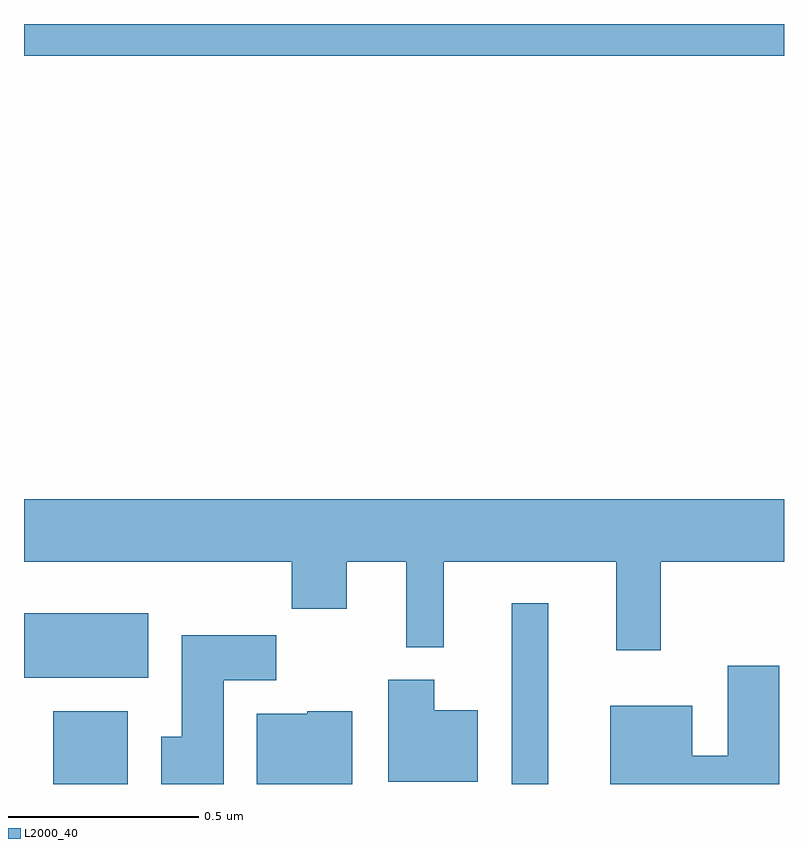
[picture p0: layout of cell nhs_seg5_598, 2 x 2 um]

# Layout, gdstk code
import gdstk
lib = gdstk.Library(unit=1e-6, precision=1e-09)
def R(c, l, rs):  # rectangles x0, y0, x1, y1
    for r in rs: c.add(gdstk.rectangle(r[:2], r[2:], *l))
def P(c, l, *ps):  # polygons
    for p in ps: c.add(gdstk.Polygon(p, *l))
L2000_40 = (2000, 40)

nhs_seg5_598 = lib.new_cell('nhs_seg5_598')
R(nhs_seg5_598, L2000_40, [(118.077,898.799,118.273,898.99), (119.283,898.799,119.38,899.275), (118,899.078,118.327,899.248), (118,900.716,120,900.799)])
P(nhs_seg5_598, L2000_40, [(119.675,899.384),(120,899.384),(120,899.548),(118,899.548),(118,899.384),(118.705,899.384),(118.705,899.26),(118.849,899.26),(118.849,899.384),(119.006,899.384),(119.006,899.159),(119.105,899.159),(119.105,899.384),(119.558,899.384),(119.558,899.151),(119.675,899.151)],
  [(118.525,899.072),(118.664,899.072),(118.664,899.19),(118.415,899.19),(118.415,898.924),(118.361,898.924),(118.361,898.799),(118.525,898.799)],
  [(119.987,899.11),(119.852,899.11),(119.852,898.874),(119.758,898.874),(119.758,899.005),(119.543,899.005),(119.543,898.799),(119.987,898.799)],
  [(119.194,898.993),(119.08,898.993),(119.08,899.074),(118.958,899.074),(118.958,898.805),(119.194,898.805)],
  [(118.864,898.99),(118.746,898.99),(118.746,898.984),(118.613,898.984),(118.613,898.799),(118.864,898.799)])

lib.write_gds('nhs_seg5_598.gds')
